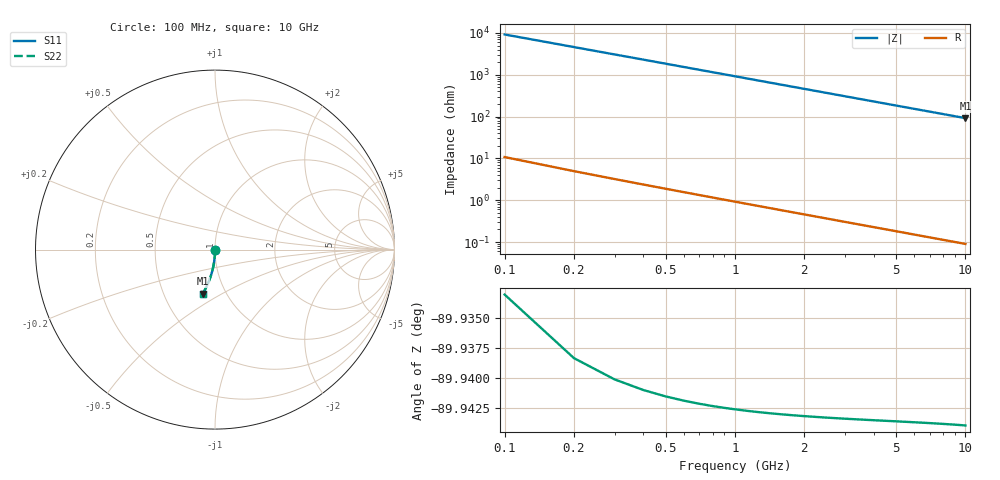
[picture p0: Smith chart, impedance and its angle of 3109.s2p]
# Hz S RI R 50.00
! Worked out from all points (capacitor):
!   100 points, 100 MHz to 10 GHz, reference 50 ohm
!   read as one part in shunt: C = 173 fF near 100 MHz
!   lowest |Z| = 91.9 ohm at 10 GHz (marker M1)
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1e8  2.52e-05 -0.00264  1 -0.00279  1 -0.00279  2.52e-05 -0.00264
2e8  6.32e-07 -0.00529  0.9999 -0.00557  0.9999 -0.00557  6.32e-07 -0.00529
3e8  -3.87e-05 -0.00793  0.9999 -0.00836  0.9999 -0.00836  -3.87e-05 -0.00793
4e8  -9.28e-05 -0.0106  0.9998 -0.0111  0.9998 -0.0111  -9.28e-05 -0.0106
5e8  -0.000162 -0.0132  0.9998 -0.0139  0.9998 -0.0139  -0.000162 -0.0132
6e8  -0.000245 -0.0159  0.9997 -0.0167  0.9997 -0.0167  -0.000245 -0.0159
7e8  -0.000343 -0.0185  0.9996 -0.0195  0.9996 -0.0195  -0.000343 -0.0185
8e8  -0.000456 -0.0211  0.9995 -0.0223  0.9995 -0.0223  -0.000456 -0.0211
9e8  -0.000584 -0.0238  0.9993 -0.0251  0.9993 -0.0251  -0.000584 -0.0238
1.1e9  -0.000883 -0.0291  0.999 -0.0306  0.999 -0.0306  -0.000883 -0.0291
1.4e9  -0.00144 -0.037  0.9985 -0.039  0.9985 -0.039  -0.00144 -0.037
1.8e9  -0.00239 -0.0475  0.9975 -0.05  0.9975 -0.05  -0.00239 -0.0475
2.1e9  -0.00326 -0.0553  0.9967 -0.0583  0.9967 -0.0583  -0.00326 -0.0553
2.5e9  -0.00462 -0.0658  0.9953 -0.0694  0.9953 -0.0694  -0.00462 -0.0658
2.9e9  -0.0062 -0.0762  0.9937 -0.0804  0.9937 -0.0804  -0.0062 -0.0762
3.4e9  -0.00851 -0.0892  0.9914 -0.094  0.9914 -0.094  -0.00851 -0.0892
4.2e9  -0.0129 -0.1097  0.987 -0.1157  0.987 -0.1157  -0.0129 -0.1097
5.1e9  -0.0189 -0.1324  0.981 -0.1397  0.981 -0.1397  -0.0189 -0.1324
5.9e9  -0.0252 -0.1522  0.9747 -0.1606  0.9747 -0.1606  -0.0252 -0.1522
6.7e9  -0.0323 -0.1716  0.9676 -0.1812  0.9676 -0.1812  -0.0323 -0.1716
8.4e9  -0.0498 -0.2112  0.95 -0.2233  0.95 -0.2233  -0.0498 -0.2112
1e10  -0.0692 -0.2463  0.9306 -0.2607  0.9306 -0.2607  -0.0692 -0.2463
